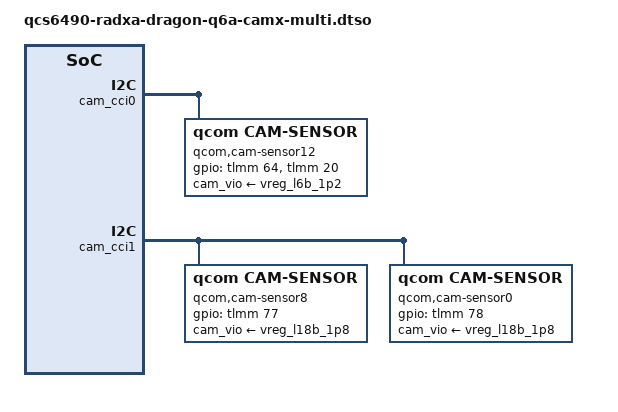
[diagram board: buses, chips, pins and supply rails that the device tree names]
// SPDX-License-Identifier: BSD-3-Clause
/*
 * Copyright (c) 2026 Radxa Computer (Shenzhen) Co., Ltd.
 */

/dts-v1/;
/plugin/;

#include "qcs6490-radxa-dragon-q6a-camx-common.dtsi"

/ {
	metadata {
		title = "Enable CAM1 + CAM2 + CAM3 on Qualcomm CAMX hardware ISP";
		compatible = "radxa,dragon-q6a";
		category = "camera";
		exclusive = "cci0", "cci1", "camss", "camx-isp", "cci0_i2c0", "cci1_i2c0", "cci1_i2c1";
		description = "Enable CAM1 (slot 12, CSIPHY0, CCI0 master 0),
CAM2 (two-lane, slot 8, CSIPHY2, CCI1 master 0) and
CAM3 (two-lane, slot 0, CSIPHY3, CCI1 master 1) together on the Qualcomm CAMX hardware ISP.
CAM2 and CAM3 use module-local 24 MHz oscillators.
Self-contained: this single overlay carries the shared CAMX infrastructure and every sensor node;
do not enable other CAMX or CAMSS camera overlays at the same time.
The sensor model is selected by sensor module bins matching slots 12, 8 and 0.";
	};
};

/* CAM1: CSIPHY0, CCI0 master 0, MCLK0 (GPIO64), reset GPIO20.
 * The sensor module bin selects sensor identification and operating modes. */
&cam_cci0 {
	qcom,cam-sensor12 {
		compatible = "qcom,cam-sensor";
		cell-index = <12>;
		csiphy-sd-index = <0>;
		sensor-position-roll = <0>;
		sensor-position-pitch = <0>;
		sensor-position-yaw = <180>;
		cam_vio-supply = <&vreg_l6b_1p2>;
		regulator-names = "cam_vio";
		power-domains = <&camcc CAM_CC_TITAN_TOP_GDSC>;
		rgltr-cntrl-support;
		rgltr-min-voltage = <1200000>;
		rgltr-max-voltage = <1200000>;
		rgltr-load-current = <120000>;
		gpio-no-mux = <0>;
		pinctrl-names = "cam_default", "cam_suspend";
		pinctrl-0 = <&cam_sensor_mclk0_active &cam_sensor_active_rst0>;
		pinctrl-1 = <&cam_sensor_mclk0_suspend &cam_sensor_suspend_rst0>;
		gpios = <&tlmm 64 0>, <&tlmm 20 0>;
		gpio-reset = <1>;
		gpio-req-tbl-num = <0 1>;
		gpio-req-tbl-flags = <1 0>;
		gpio-req-tbl-label = "CAM_MCLK0", "CAM_RESET0";
		sensor-mode = <0>;
		cci-master = <0>;
		clocks = <&camcc CAM_CC_MCLK0_CLK>;
		clock-names = "cam_clk";
		clock-cntl-level = "nominal";
		clock-rates = <24000000>;
		status = "ok";
	};
};

&{/} {
	/* CAM2 modules also supply their own 24 MHz INCK. */
	cam2_xclk: cam2-xclk {
		compatible = "fixed-clock";
		#clock-cells = <0>;
		clock-frequency = <24000000>;
		clock-output-names = "cam2_xclk";
	};

	/* CAM3 modules also supply their own 24 MHz INCK. */
	cam3_xclk: cam3-xclk {
		compatible = "fixed-clock";
		#clock-cells = <0>;
		clock-frequency = <24000000>;
		clock-output-names = "cam3_xclk";
	};
};

/* CAM2: CSIPHY2, CCI1 master 0, module-local 24 MHz clock, reset GPIO77.
 * The sensor module bin for slot 8 must match the installed module, including
 * its 24 MHz INCK. */
&cam_cci1 {
	qcom,cam-sensor8 {
		compatible = "qcom,cam-sensor";
		cell-index = <8>;
		csiphy-sd-index = <2>;
		sensor-position-roll = <0>;
		sensor-position-pitch = <0>;
		sensor-position-yaw = <180>;
		cam_vio-supply = <&vreg_l18b_1p8>;
		regulator-names = "cam_vio";
		power-domains = <&camcc CAM_CC_TITAN_TOP_GDSC>;
		rgltr-cntrl-support;
		pwm-switch;
		rgltr-min-voltage = <1800000>;
		rgltr-max-voltage = <1800000>;
		rgltr-load-current = <120000>;
		gpio-no-mux = <0>;
		pinctrl-names = "cam_default", "cam_suspend";
		pinctrl-0 = <&cam_sensor_active_rst2>;
		pinctrl-1 = <&cam_sensor_suspend_rst2>;
		gpios = <&tlmm 77 0>;
		gpio-reset = <0>;
		gpio-req-tbl-num = <0>;
		gpio-req-tbl-flags = <0>;
		gpio-req-tbl-label = "CAM_RESET2";
		sensor-mode = <0>;
		cci-master = <0>;
		clocks = <&cam2_xclk>;
		clock-names = "cam_clk";
		clock-cntl-level = "nominal";
		clock-rates = <24000000>;
		status = "ok";
	};

	qcom,cam-sensor0 {
		compatible = "qcom,cam-sensor";
		cell-index = <0>;
		csiphy-sd-index = <3>;
		sensor-position-roll = <0>;
		sensor-position-pitch = <0>;
		sensor-position-yaw = <180>;
		cam_vio-supply = <&vreg_l18b_1p8>;
		regulator-names = "cam_vio";
		power-domains = <&camcc CAM_CC_TITAN_TOP_GDSC>;
		rgltr-cntrl-support;
		pwm-switch;
		rgltr-min-voltage = <1800000>;
		rgltr-max-voltage = <1800000>;
		rgltr-load-current = <120000>;
		gpio-no-mux = <0>;
		pinctrl-names = "cam_default", "cam_suspend";
		pinctrl-0 = <&cam_sensor_active_rst3>;
		pinctrl-1 = <&cam_sensor_suspend_rst3>;
		gpios = <&tlmm 78 0>;
		gpio-reset = <0>;
		gpio-req-tbl-num = <0>;
		gpio-req-tbl-flags = <0>;
		gpio-req-tbl-label = "CAM_RESET3";
		sensor-mode = <0>;
		cci-master = <1>;
		clocks = <&cam3_xclk>;
		clock-names = "cam_clk";
		clock-cntl-level = "nominal";
		clock-rates = <24000000>;
		status = "ok";
	};
};
